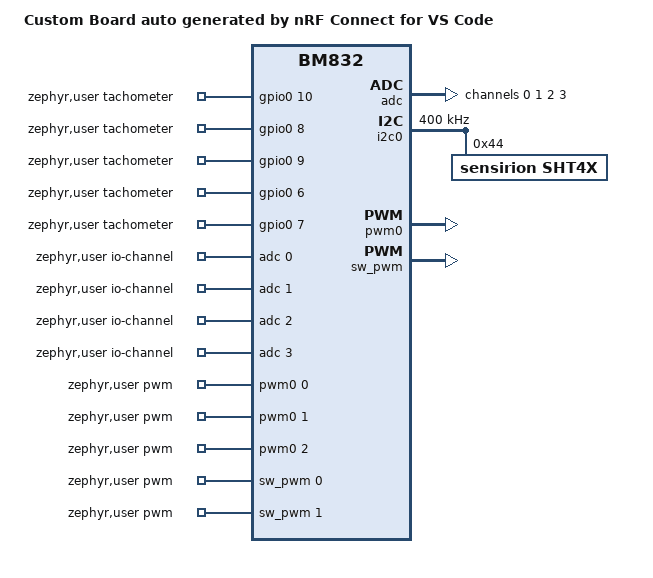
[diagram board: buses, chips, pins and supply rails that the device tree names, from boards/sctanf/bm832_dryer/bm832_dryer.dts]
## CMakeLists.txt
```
# SPDX-License-Identifier: Apache-2.0

cmake_minimum_required(VERSION 3.20.0)

find_package(Zephyr REQUIRED HINTS $ENV{ZEPHYR_BASE})
project(NONE)

# NORDIC SDK APP START
FILE(GLOB_RECURSE app_sources src/*.c)
target_sources(app PRIVATE ${app_sources})

# NORDIC SDK APP END

target_include_directories(app PRIVATE src)
```

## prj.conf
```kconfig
CONFIG_ASSERT=y
CONFIG_ASSERT_NO_COND_INFO=y
CONFIG_ASSERT_NO_MSG_INFO=y
CONFIG_RESET_ON_FATAL_ERROR=y

CONFIG_ADC=y
CONFIG_GPIO=y
CONFIG_PWM=y
CONFIG_PWM_NRF_SW=y
CONFIG_SENSOR=y

CONFIG_LOG=y
CONFIG_USE_SEGGER_RTT=y
CONFIG_LOG_MODE_IMMEDIATE=y
CONFIG_CBPRINTF_FP_SUPPORT=y

CONFIG_CLOCK_CONTROL_NRF_K32SRC_SYNTH=y

CONFIG_THREAD_NAME=y

#CONFIG_THREAD_ANALYZER=y
#CONFIG_THREAD_ANALYZER_AUTO=y
#CONFIG_THREAD_ANALYZER_AUTO_INTERVAL=5
```

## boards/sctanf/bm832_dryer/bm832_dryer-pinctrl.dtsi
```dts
&pinctrl {
	i2c0_default: i2c0_default {
		group1 {
			psels = <NRF_PSEL(TWIM_SDA, 0, 0)>,
				<NRF_PSEL(TWIM_SCL, 0, 1)>;
			bias-disable;
		};
	};

	i2c0_sleep: i2c0_sleep {
		group1 {
			psels = <NRF_PSEL(TWIM_SDA, 0, 0)>,
				<NRF_PSEL(TWIM_SCL, 0, 1)>;
			bias-disable;
			low-power-enable;
		};
	};

	pwm0_default: pwm0_default {
		group1 {
			psels = <NRF_PSEL(PWM_OUT0, 0, 18)>,
				<NRF_PSEL(PWM_OUT1, 0, 16)>,
				<NRF_PSEL(PWM_OUT2, 0, 12)>;
		};
	};

	pwm0_sleep: pwm0_sleep {
		group1 {
			psels = <NRF_PSEL(PWM_OUT0, 0, 18)>,
				<NRF_PSEL(PWM_OUT1, 0, 16)>,
				<NRF_PSEL(PWM_OUT2, 0, 12)>;
			low-power-enable;
		};
	};
};
```

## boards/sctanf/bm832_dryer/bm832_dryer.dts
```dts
/dts-v1/;
#include <nordic/nrf52810_qfaa.dtsi>
#include "bm832_dryer-pinctrl.dtsi"

/ {
	model = "Custom Board auto generated by nRF Connect for VS Code";
	compatible = "sctanf,bm832-dryer";

	chosen {
		zephyr,sram = &sram0;
		zephyr,flash = &flash0;
	};

	zephyr,user {
		io-channels = <&adc 0>,
			<&adc 1>,
			<&adc 2>,
			<&adc 3>;
		pwms = <&pwm0 0 PWM_KHZ(25) PWM_POLARITY_NORMAL>,
			<&pwm0 1 PWM_KHZ(25) PWM_POLARITY_NORMAL>,
			<&pwm0 2 PWM_KHZ(25) PWM_POLARITY_NORMAL>,
			<&sw_pwm 0 PWM_HZ(20) PWM_POLARITY_NORMAL>,
			<&sw_pwm 1 PWM_HZ(20) PWM_POLARITY_NORMAL>;
		tachometer-gpios = <&gpio0 10 GPIO_PULL_UP>,
			<&gpio0 8 GPIO_PULL_UP>,
			<&gpio0 9 GPIO_PULL_UP>,
			<&gpio0 6 GPIO_PULL_UP>,
			<&gpio0 7 GPIO_PULL_UP>;
	};
};

&reg {
	regulator-initial-mode = <NRF5X_REG_MODE_DCDC>;
};

&adc {
	#address-cells = <1>;
	#size-cells = <0>;
	status = "okay";

	channel@0 {
		reg = <0>;
		zephyr,gain = "ADC_GAIN_1_5";
		zephyr,reference = "ADC_REF_INTERNAL";
		zephyr,acquisition-time = <ADC_ACQ_TIME_DEFAULT>;
		zephyr,input-positive = <NRF_SAADC_AIN0>;
		zephyr,resolution = <14>;
		zephyr,oversampling = <8>;
	};

	channel@1 {
		reg = <1>;
		zephyr,gain = "ADC_GAIN_1_5";
		zephyr,reference = "ADC_REF_INTERNAL";
		zephyr,acquisition-time = <ADC_ACQ_TIME_DEFAULT>;
		zephyr,input-positive = <NRF_SAADC_AIN1>;
		zephyr,resolution = <14>;
		zephyr,oversampling = <8>;
	};

	channel@2 {
		reg = <2>;
		zephyr,gain = "ADC_GAIN_1_5";
		zephyr,reference = "ADC_REF_INTERNAL";
		zephyr,acquisition-time = <ADC_ACQ_TIME_DEFAULT>;
		zephyr,input-positive = <NRF_SAADC_AIN2>;
		zephyr,resolution = <14>;
		zephyr,oversampling = <8>;
	};

	channel@3 {
		reg = <3>;
		zephyr,gain = "ADC_GAIN_1_5";
		zephyr,reference = "ADC_REF_INTERNAL";
		zephyr,acquisition-time = <ADC_ACQ_TIME_DEFAULT>;
		zephyr,input-positive = <NRF_SAADC_AIN3>;
		zephyr,resolution = <14>;
		zephyr,oversampling = <8>;
	};
};

&gpio0 {
	status = "okay";
};

&gpiote {
	status = "okay";
};

&i2c0 {
	compatible = "nordic,nrf-twim";
	status = "okay";
	clock-frequency = <I2C_BITRATE_FAST>;
	pinctrl-0 = <&i2c0_default>;
	pinctrl-1 = <&i2c0_sleep>;
	pinctrl-names = "default", "sleep";

	sht4x@44 {
		status = "okay";
		compatible = "sensirion,sht4x";
		reg = <0x44>;
		repeatability = <2>;
	};
};

&pwm0 {
	status = "okay";
	pinctrl-0 = <&pwm0_default>;
	pinctrl-1 = <&pwm0_sleep>;
	pinctrl-names = "default", "sleep";
};

&sw_pwm {
	status = "okay";
	channel-gpios = <&gpio0 14 (1 << 8 | 1 << 9)>,
		<&gpio0 20 (1 << 8 | 1 << 9)>;
};
```

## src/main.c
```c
#include <zephyr/kernel.h>
#include <zephyr/sys/printk.h>
#include <zephyr/device.h>
#include <zephyr/drivers/adc.h>
#include <zephyr/drivers/gpio.h>
#include <zephyr/drivers/pwm.h>
#include <zephyr/drivers/sensor.h>
#include <zephyr/drivers/sensor/sht4x.h>

#include <math.h>

/* NTC thermistors */

#define NTC_TEMP_SIZE 10

#define SUPPLY_MILLIVOLTS 3300 /* Make sure this is accurate to regulator voltage */

#define REF_RESISTANCE 47000

#define NTC_REF_TEMPERATURE 25
#define NTC_REF_RESISTANCE 50000
#define NTC_BETA 3950

#define ADC_DT_SPEC_AND_COMMA(node_id, prop, idx) \
	ADC_DT_SPEC_GET_BY_IDX(node_id, idx),

/* Data of ADC io-channels specified in devicetree. */
static const struct adc_dt_spec adc_channels[] = {
	DT_FOREACH_PROP_ELEM(DT_PATH(zephyr_user), io_channels,
			     ADC_DT_SPEC_AND_COMMA)
};

static uint16_t NTC_value[(ARRAY_SIZE(adc_channels))][NTC_TEMP_SIZE] = {0};
static int8_t last_NTC_value[(ARRAY_SIZE(adc_channels))] = {0};

static float NTC_temperature[(ARRAY_SIZE(adc_channels))] = {0};

static float ntc_get_temperature_mV(float mV)
{
	float NTC_resistance = SUPPLY_MILLIVOLTS * REF_RESISTANCE / mV - REF_RESISTANCE;
	float temperature = 1.0 / (1.0 / (NTC_REF_TEMPERATURE + 273.15) + log(NTC_resistance / NTC_REF_RESISTANCE) / NTC_BETA) - 273.15;
	return temperature;
}

static void adc_thread(void)
{
	uint16_t buf;
	struct adc_sequence sequence = {
		.buffer = &buf,
		/* buffer size in bytes, not number of samples */
		.buffer_size = sizeof(buf),
	};

	for (size_t i = 0U; i < (ARRAY_SIZE(adc_channels)); i++)
		adc_channel_setup_dt(&adc_channels[i]);

	while (1) {
		for (size_t i = 0U; i < (ARRAY_SIZE(adc_channels)); i++)
		{
			int32_t val_mv;

			adc_sequence_init_dt(&adc_channels[i], &sequence);

			adc_read_dt(&adc_channels[i], &sequence);

			val_mv = (int32_t)buf;
			adc_raw_to_millivolts_dt(&adc_channels[i], &val_mv);
			NTC_value[i][last_NTC_value[i]] = val_mv;
			last_NTC_value[i] = (last_NTC_value[i] + 1) % NTC_TEMP_SIZE;

			val_mv = 0;
			for (int j = 0; j < NTC_TEMP_SIZE; j++)
				val_mv += NTC_value[i][j];
			NTC_temperature[i] = ntc_get_temperature_mV(val_mv / (float)NTC_TEMP_SIZE);
		}

		k_sleep(K_MSEC(1));
	}
}

K_THREAD_DEFINE(adc_thread_id, 512, adc_thread, NULL, NULL, NULL, 6, 0, 0);

/* Fan tachometers */

#define TACHOMETER_TIME_SIZE 10

#define GPIO_DT_SPEC_AND_COMMA(node_id, prop, idx) \
	GPIO_DT_SPEC_GET_BY_IDX(node_id, prop, idx),

static const struct gpio_dt_spec tachometers[] = {
	DT_FOREACH_PROP_ELEM(DT_PATH(zephyr_user), tachometer_gpios,
			     GPIO_DT_SPEC_AND_COMMA)
};

static struct gpio_callback tachometer_cb_data;

static int64_t tachometer_time[(ARRAY_SIZE(tachometers))][TACHOMETER_TIME_SIZE] = {0};
static int8_t last_tachometer_time[(ARRAY_SIZE(tachometers))] = {0};

static float fan_tachometer[(ARRAY_SIZE(tachometers))] = {0};

static void tachometer_pulsed(const struct device *dev, struct gpio_callback *cb, uint32_t pins)
{
	for (size_t i = 0U; i < (ARRAY_SIZE(tachometers)); i++)
	{
		if (pins & BIT(tachometers[i].pin))
		{
			last_tachometer_time[i] = (last_tachometer_time[i] + 1) % TACHOMETER_TIME_SIZE;
			tachometer_time[i][last_tachometer_time[i]] = k_uptime_ticks();
		}
	}
}

static void fan_tachometer_thread(void)
{
	uint32_t tachometer_pins = 0;

	for (size_t i = 0U; i < (ARRAY_SIZE(tachometers)); i++)
	{
		gpio_pin_configure_dt(&tachometers[i], GPIO_INPUT);
		gpio_pin_interrupt_configure_dt(&tachometers[i], GPIO_INT_EDGE_FALLING);
		tachometer_pins |= BIT(tachometers[i].pin);
	}
	gpio_init_callback(&tachometer_cb_data, tachometer_pulsed, tachometer_pins);
	gpio_add_callback(tachometers[0].port, &tachometer_cb_data);

	while (1)
	{
		for (size_t i = 0U; i < (ARRAY_SIZE(tachometers)); i++)
		{
			if (k_uptime_ticks() - tachometer_time[i][last_tachometer_time[i]] > CONFIG_SYS_CLOCK_TICKS_PER_SEC / 20)
			{
				fan_tachometer[i] = 0;
				continue;
			}
			float dt =
				(tachometer_time[i][last_tachometer_time[i]] -
				 tachometer_time[i][(last_tachometer_time[i] + 1) % TACHOMETER_TIME_SIZE]) *
				2.0f / (float)TACHOMETER_TIME_SIZE / (float)CONFIG_SYS_CLOCK_TICKS_PER_SEC;
			fan_tachometer[i] = 60.0f / dt;
		}
		k_sleep(K_MSEC(10));
	}
}

K_THREAD_DEFINE(fan_tachometer_thread_id, 512, fan_tachometer_thread, NULL, NULL, NULL, 6, 0, 0);

/* PWM controls */

#define FAN_PWM_MIN 0.25f
#define FAN_PWM_MAX 0.65f
#define FAN_PWM_HYST 0.02f

#define PELTIER_PWM_MIN 0.0f
#define PELTIER_PWM_MAX 1.0f
#define PELTIER_PWM_HYST 0.04f

#define PWM_DT_SPEC_AND_COMMA(node_id, prop, idx) \
	PWM_DT_SPEC_GET_BY_IDX(node_id, idx),

static const struct pwm_dt_spec pwm_channels[] = {
	DT_FOREACH_PROP_ELEM(DT_PATH(zephyr_user), pwms,
			     PWM_DT_SPEC_AND_COMMA)
};

static float pwm_duty_hyst[(ARRAY_SIZE(pwm_channels))] = {0};
static float pwm_duty[(ARRAY_SIZE(pwm_channels))] = {0};

static void fan_set_pwm(uint32_t id, float duty_cycle)
{
	if (duty_cycle < pwm_duty_hyst[id] - FAN_PWM_HYST)
		duty_cycle += FAN_PWM_HYST;
	else if (duty_cycle > pwm_duty_hyst[id] + FAN_PWM_HYST)
		duty_cycle -= FAN_PWM_HYST;
	else
		duty_cycle = pwm_duty_hyst[id];
	pwm_duty_hyst[id] = duty_cycle;
	duty_cycle = duty_cycle < 0 ? 0 : duty_cycle;
	duty_cycle = duty_cycle > 1 ? 1 : duty_cycle;
	duty_cycle = FAN_PWM_MIN + (FAN_PWM_MAX - FAN_PWM_MIN) * duty_cycle;
	pwm_duty[id] = duty_cycle;
	pwm_set_pulse_dt(&pwm_channels[id], pwm_channels[id].period * duty_cycle);
}

static void peltier_set_pwm(uint32_t id, float duty_cycle)
{
	id += 3;
	if (duty_cycle < pwm_duty_hyst[id] - PELTIER_PWM_HYST)
		duty_cycle += PELTIER_PWM_HYST;
	else if (duty_cycle > pwm_duty_hyst[id] + PELTIER_PWM_HYST)
		duty_cycle -= PELTIER_PWM_HYST;
	else
		duty_cycle = pwm_duty_hyst[id];
	pwm_duty_hyst[id] = duty_cycle;
	duty_cycle = duty_cycle < 0 ? 0 : duty_cycle;
	duty_cycle = duty_cycle > 1 ? 1 : duty_cycle;
	duty_cycle = PELTIER_PWM_MIN + (PELTIER_PWM_MAX - PELTIER_PWM_MIN) * duty_cycle;
	pwm_duty[id] = duty_cycle;
	pwm_set_pulse_dt(&pwm_channels[id], pwm_channels[id].period * duty_cycle);
}

/* SHT4X */

#if !DT_HAS_COMPAT_STATUS_OKAY(sensirion_sht4x)
#error "No sensirion,sht4x compatible node found in the device tree"
#endif

static float sht_temperature = 0;
static float sht_humidity = 0;

static void sht_thread(void)
{
	const struct device *const sht = DEVICE_DT_GET_ANY(sensirion_sht4x);
	struct sensor_value temp, hum;

	while (1)
	{
		if (sensor_sample_fetch(sht))
		{
			printf("Failed to fetch sample from SHT4X device\n");
			return;
		}

		sensor_channel_get(sht, SENSOR_CHAN_AMBIENT_TEMP, &temp);
		sensor_channel_get(sht, SENSOR_CHAN_HUMIDITY, &hum);

		sht_temperature = sensor_value_to_float(&temp);
		sht_humidity = sensor_value_to_float(&hum);
	}
}

K_THREAD_DEFINE(sht_thread_id, 1024, sht_thread, NULL, NULL, NULL, 6, 0, 0);

/* MCU temperature */

#if !DT_HAS_COMPAT_STATUS_OKAY(nordic_nrf_temp)
#error "No nordic,nrf-temp compatible node found in the device tree"
#endif

static float mcu_temperature = 0;

static void temp_thread(void)
{
	const struct device *const dev = DEVICE_DT_GET_ANY(nordic_nrf_temp);
	struct sensor_value temp;

	while (1)
	{
		if (sensor_sample_fetch(dev))
		{
			printf("Failed to fetch sample from nRF temperature device\n");
			return;
		}

		sensor_channel_get(dev, SENSOR_CHAN_DIE_TEMP, &temp);

		mcu_temperature = sensor_value_to_float(&temp);
	}
}

K_THREAD_DEFINE(temp_thread_id, 512, temp_thread, NULL, NULL, NULL, 6, 0, 0);

/* Dryer loop */

#define AMBIENT_TEMPERATURE 25.0f

#define CHAMBER_TARGET_TEMPERATURE 43.0f
#define CHAMBER_TEMPERATURE_TOLERANCE 0.5f
#define CHAMBER_TARGET_HUMIDITY 10.0f
#define CHAMBER_HUMIDITY_TOLERANCE 0.25f

#define CHAMBER_PELTIER_TARGET_TEMPERATURE (CHAMBER_TARGET_TEMPERATURE + 14.0f)
#define CHAMBER_PELTIER_TEMPERATURE_TOLERANCE 2.0f

#define EXTERNAL_PELTIER_TARGET_TEMPERATURE (AMBIENT_TEMPERATURE + 12.0f)
#define EXTERNAL_PELTIER_TEMPERATURE_TOLERANCE 4.0f

#define CHAMBER_PELTIER_HEATSINK_NTC 1
#define EXTERNAL_PELTIER_HEATSINK_NTC 3

#define CHAMBER_HEATING_FAN 0
#define EXTERNAL_COOLING_FAN 1
#define DEHUMIDIFIER_FAN 2

#define CHAMBER_PELTIER 0
#define EXTERNAL_PELTIER 1

void dryer_thread(void)
{
	float duty;
	while (1)
	{
		float duty_int_temp = (sht_temperature - CHAMBER_TARGET_TEMPERATURE) / CHAMBER_TEMPERATURE_TOLERANCE;
		float duty_int_hum = (sht_humidity - CHAMBER_TARGET_HUMIDITY) / CHAMBER_HUMIDITY_TOLERANCE;
		float duty_int_ntc = (NTC_temperature[CHAMBER_PELTIER_HEATSINK_NTC] - CHAMBER_PELTIER_TARGET_TEMPERATURE) / CHAMBER_PELTIER_TEMPERATURE_TOLERANCE;
		float duty_ext_ntc = (NTC_temperature[EXTERNAL_PELTIER_HEATSINK_NTC] - EXTERNAL_PELTIER_TARGET_TEMPERATURE) / EXTERNAL_PELTIER_TEMPERATURE_TOLERANCE;
	
		duty = (1.0f - duty_int_temp) / 2.0f;
		fan_set_pwm(CHAMBER_HEATING_FAN, duty);

//		duty = (1.0f + MAX(duty_int_temp, duty_int_hum)) / 2.0f;
//		fan_set_pwm(DEHUMIDIFIER_FAN, duty);
		fan_set_pwm(DEHUMIDIFIER_FAN, 0);

		duty = (1.0f + duty_ext_ntc) / 2.0f;
		fan_set_pwm(EXTERNAL_COOLING_FAN, duty);

		duty = (1.0f - MAX(duty_int_temp, duty_int_ntc)) / 2.0f;
		peltier_set_pwm(CHAMBER_PELTIER, duty);

		duty = (1.0f + MAX(duty_int_temp - 1.0f, duty_int_hum)) / 2.0f;
		peltier_set_pwm(EXTERNAL_PELTIER, duty);
//		fan_set_pwm(EXTERNAL_COOLING_FAN, duty);

		k_sleep(K_MSEC(1));
	}
}

K_THREAD_DEFINE(dryer_thread_id, 512, dryer_thread, NULL, NULL, NULL, 6, 0, 0);

/* Debugging */

static const char *ntc_labels[4] = {
	"Internal Peltier Condenser",
	"Internal Peltier Heatsink",
	"External Peltier Condenser",
	"External Peltier Heatsink"};

static const char *tach_labels[5] = {
	"Chamber Heating Fan 1",
	"Chamber Heating Fan 2",
	"External Cooling Fan 1",
	"External Cooling Fan 2",
	"Dehumidifier Fan"};

static const char *pwm_labels[5] = {
	"Chamber Heating Fans",
	"External Cooling Fans",
	"Dehumidifier Fan",
	"Internal Peltier",
	"External Peltier"}; 

int main(void)
{
	while (1)
	{
		printk("\nMCU Temperature: %.2f C\n", (double)mcu_temperature);
		printk("Chamber Temperature: %.2f C\n", (double)sht_temperature);
		printk("Chamber Humidity: %.2f%%\n", (double)sht_humidity);
		for (int i = 0; i < 4; i++)
			printk("%s: %.2f C\n", ntc_labels[i], (double)NTC_temperature[i]);
		for (int i = 0; i < 5; i++)
			printk("%s: %.0f rpm\n", tach_labels[i], (double)fan_tachometer[i]);
		for (int i = 0; i < 5; i++)
			printk("%s: %.2f%%\n", pwm_labels[i], (double)(pwm_duty[i] * 100));
		k_sleep(K_MSEC(1000));
	}
	return 0;
}
```
